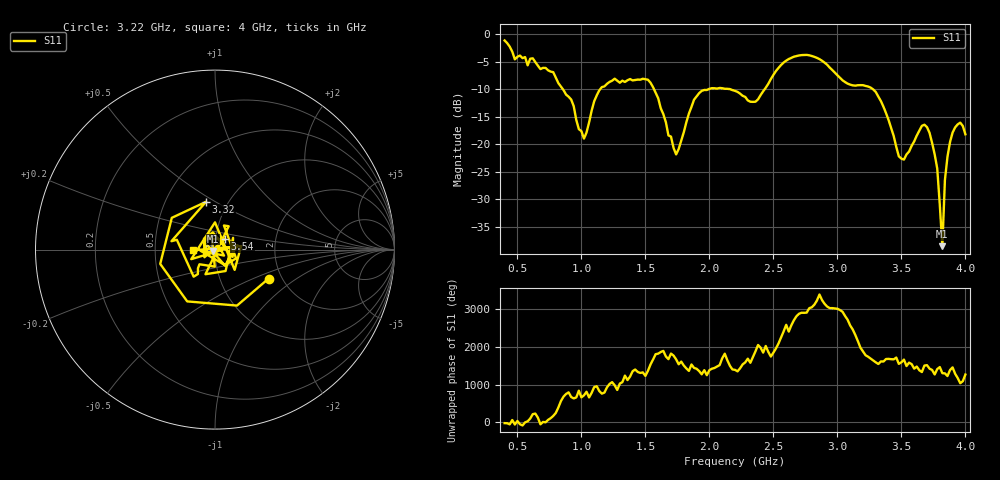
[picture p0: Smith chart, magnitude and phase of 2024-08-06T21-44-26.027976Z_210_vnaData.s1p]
!Created with skrf (http://scikit-rf.org).
# Hz S RI R 50.0
!freq ReS11 ImS11
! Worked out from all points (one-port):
!   181 points, 400 MHz to 4 GHz, reference 50 ohm
!   lowest |S11| = -38.5 dB at 3.82 GHz (marker M1), VSWR 1.02, Z = 49.1 - j0.736 ohm
!   |S11| at or under -10 dB: 855.7 MHz to 1.146 GHz (290.4 MHz wide, 29 % of centre); 1.567 GHz to 1.992 GHz (424.4 MHz wide, 23.8 % of centre); 3.279 GHz to end of sweep (the widest 3 of 4)
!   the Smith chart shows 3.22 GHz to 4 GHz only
!   S11 on the Smith chart (normalised r, x): 3.22 GHz: 1.71, -0.62; 3.32 GHz: 0.79, +0.45; 3.54 GHz: 1.11, +0.13; 4 GHz: 0.78, -0.01
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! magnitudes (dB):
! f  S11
! 400 MHz  -1.1
! 480 MHz  -4.6
! 620 MHz  -4.4
! 860 MHz  -10.1
! 1.02 GHz  -19.0
! 1.14 GHz  -10.2
! 1.3 GHz  -8.8
! 1.52 GHz  -8.3
! 1.74 GHz  -21.8
! 1.76 GHz  -20.8
! 1.92 GHz  -10.7
! 2.2 GHz  -10.3
! 2.36 GHz  -12.3
! 2.66 GHz  -4.1
! 3.1 GHz  -9.2
! 3.22 GHz  -9.4
! 3.32 GHz  -11.3
! 3.48 GHz  -22.2
! 3.54 GHz  -21.8
! 3.56 GHz  -21.3
! 3.66 GHz  -16.6
! 3.72 GHz  -17.9
! 3.78 GHz  -24.4
! 3.82 GHz  -38.5
! 3.84 GHz  -26.5
! 3.88 GHz  -19.6
! 3.96 GHz  -16.1
! 4 GHz  -18.2
